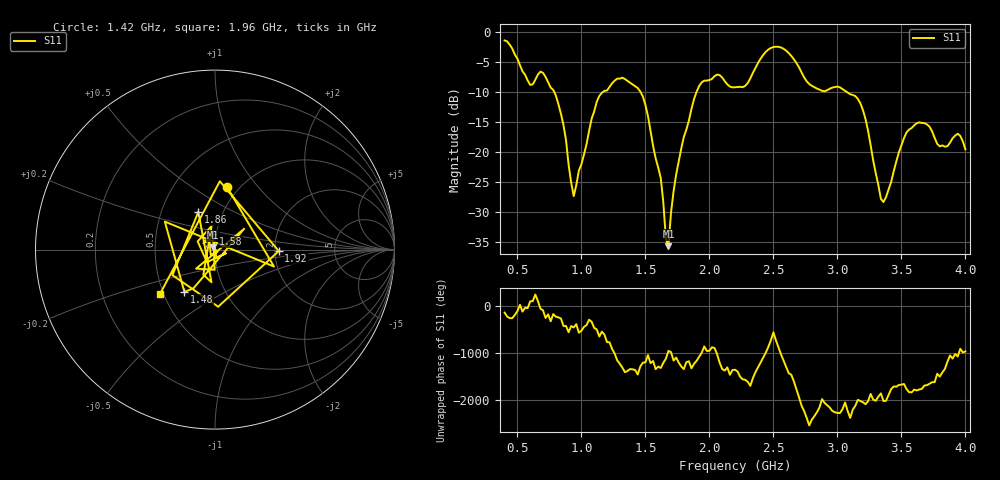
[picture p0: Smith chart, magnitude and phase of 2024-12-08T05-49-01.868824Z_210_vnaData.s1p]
!Created with skrf (http://scikit-rf.org).
# Hz S RI R 50.0
!freq ReS11 ImS11
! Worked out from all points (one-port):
!   181 points, 400 MHz to 4 GHz, reference 50 ohm
!   lowest |S11| = -35.7 dB at 1.68 GHz (marker M1), VSWR 1.03, Z = 49.1 + j1.32 ohm
!   |S11| at or under -10 dB: 787.9 MHz to 1.167 GHz (379.1 MHz wide, 38.8 % of centre); 1.463 GHz to 1.899 GHz (436.3 MHz wide, 26 % of centre); 3.075 GHz to end of sweep
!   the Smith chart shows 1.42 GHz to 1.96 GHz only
!   S11 on the Smith chart (normalised r, x): 1.42 GHz: 0.88, +0.70; 1.48 GHz: 0.64, -0.33; 1.58 GHz: 0.96, +0.17; 1.86 GHz: 0.76, +0.34; 1.92 GHz: 2.10, -0.04; 1.96 GHz: 0.48, -0.28
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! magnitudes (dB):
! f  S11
! 400 MHz  -1.4
! 600 MHz  -8.8
! 700 MHz  -6.8
! 860 MHz  -15.5
! 940 MHz  -27.4
! 1.12 GHz  -11.6
! 1.3 GHz  -7.7
! 1.42 GHz  -9.0
! 1.48 GHz  -10.7
! 1.58 GHz  -21.1
! 1.62 GHz  -24.4
! 1.66 GHz  -34.5
! 1.68 GHz  -35.7
! 1.76 GHz  -21.6
! 1.86 GHz  -12.8
! 1.92 GHz  -9.0
! 1.96 GHz  -8.1
! 2.2 GHz  -9.2
! 2.48 GHz  -2.6
! 2.66 GHz  -4.5
! 2.8 GHz  -8.9
! 3.1 GHz  -10.3
! 3.2 GHz  -13.0
! 3.36 GHz  -28.4
! 3.56 GHz  -16.3
! 3.8 GHz  -19.1
! 3.94 GHz  -16.9
! 4 GHz  -19.6
